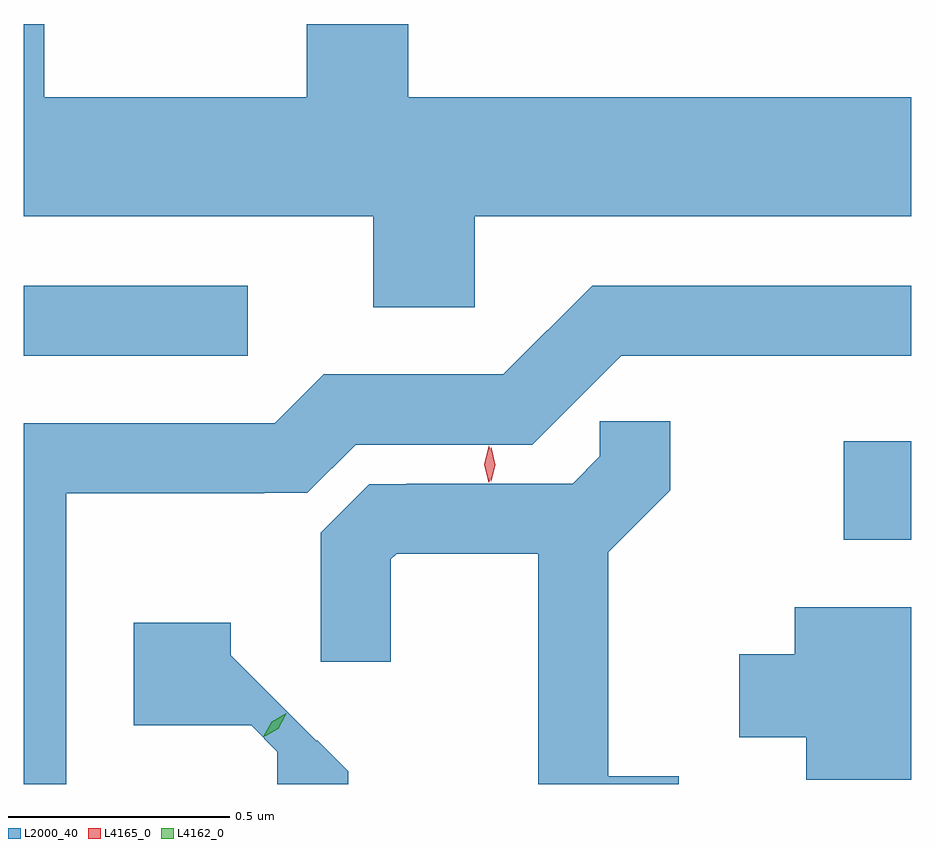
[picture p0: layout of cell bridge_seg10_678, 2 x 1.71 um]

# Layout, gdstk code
import gdstk
lib = gdstk.Library(unit=1e-6, precision=1e-09)
def R(c, l, rs):  # rectangles x0, y0, x1, y1
    for r in rs: c.add(gdstk.rectangle(r[:2], r[2:], *l))
def P(c, l, *ps):  # polygons
    for p in ps: c.add(gdstk.Polygon(p, *l))
L2000_40 = (2000, 40)
L4162_0 = (4162, 0)
L4165_0 = (4165, 0)

bridge_seg10_678 = lib.new_cell('bridge_seg10_678')
R(bridge_seg10_678, L2000_40, [(851.371,2144.266,851.523,2144.489), (849.523,2144.681,850.028,2144.839)])
P(bridge_seg10_678, L2000_40, [(850.539,2144.996),(851.523,2144.996),(851.523,2145.264),(850.389,2145.264),(850.389,2145.429),(850.161,2145.429),(850.161,2145.264),(849.569,2145.264),(849.569,2145.429),(849.523,2145.429),(849.523,2144.996),(850.311,2144.996),(850.311,2144.791),(850.539,2144.791)],
  [(849.619,2144.371),(850.065,2144.371),(850.065,2144.372),(850.162,2144.372),(850.271,2144.481),(850.669,2144.481),(850.869,2144.681),(851.523,2144.681),(851.523,2144.839),(850.804,2144.839),(850.604,2144.639),(850.199,2144.639),(850.089,2144.529),(849.523,2144.529),(849.523,2143.716),(849.619,2143.716)],
  [(850.999,2143.733),(850.84,2143.733),(850.84,2144.238),(850.98,2144.378),(850.98,2144.534),(850.821,2144.534),(850.821,2144.455),(850.76,2144.393),(850.386,2144.393),(850.386,2144.392),(850.302,2144.392),(850.192,2144.282),(850.192,2143.992),(850.35,2143.992),(850.35,2144.223),(850.363,2144.235),(850.682,2144.235),(850.682,2143.716),(850.999,2143.716)],
  [(851.523,2144.114),(851.261,2144.114),(851.261,2144.009),(851.136,2144.009),(851.136,2143.821),(851.286,2143.821),(851.286,2143.726),(851.523,2143.726)],
  [(850.254,2143.745),(850.184,2143.815),(850.182,2143.813),(849.989,2144.006),(849.989,2144.079),(849.771,2144.079),(849.771,2143.848),(850.036,2143.848),(850.094,2143.789),(850.094,2143.716),(850.254,2143.716)])
P(bridge_seg10_678, L4162_0, [(850.063,2143.822),(850.063,2143.823),(850.082,2143.856),(850.114,2143.875),(850.115,2143.875),(850.115,2143.874),(850.096,2143.841),(850.064,2143.822)],
  [(850.07,2143.826),(850.07,2143.826),(850.083,2143.854),(850.11,2143.869),(850.111,2143.869),(850.111,2143.868),(850.097,2143.84),(850.07,2143.826)])
P(bridge_seg10_678, L4165_0, [(850.571,2144.396),(850.571,2144.396),(850.561,2144.436),(850.571,2144.477),(850.571,2144.477),(850.572,2144.477),(850.581,2144.436),(850.572,2144.396)],
  [(850.576,2144.398),(850.576,2144.398),(850.566,2144.436),(850.576,2144.475),(850.576,2144.475),(850.577,2144.475),(850.586,2144.436),(850.577,2144.398)])

lib.write_gds('bridge_seg10_678.gds')
